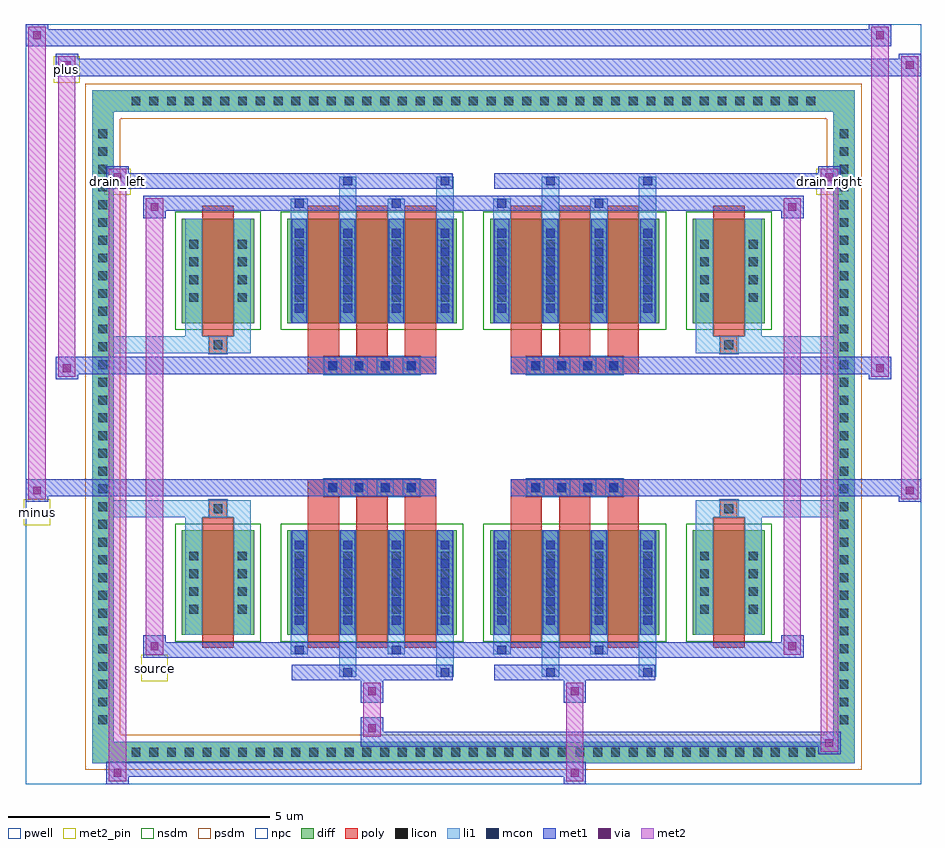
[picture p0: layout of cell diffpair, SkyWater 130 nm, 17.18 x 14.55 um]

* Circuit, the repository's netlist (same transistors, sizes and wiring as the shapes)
* NGSPICE file created from diffpair.ext - technology: sky130A

.subckt diffpair minus drain_right drain_left source plus
X0 a_n1460_n1288# a_n1460_n1288# a_n1460_n1288# a_n1460_n1288# sky130_fd_pr__nfet_01v8 ad=0.78 pd=4.78 as=6.24 ps=38.24 w=2 l=0.6
X1 a_n1460_n1288# a_n1460_n1288# a_n1460_n1288# a_n1460_n1288# sky130_fd_pr__nfet_01v8 ad=0.78 pd=4.78 as=0 ps=0 w=2 l=0.6
X2 drain_right minus source a_n1460_n1288# sky130_fd_pr__nfet_01v8 ad=0.78 pd=4.78 as=0.33 ps=2.33 w=2 l=0.6
X3 drain_left plus source a_n1460_n1288# sky130_fd_pr__nfet_01v8 ad=0.78 pd=4.78 as=0.33 ps=2.33 w=2 l=0.6
X4 a_n1460_n1288# a_n1460_n1288# a_n1460_n1288# a_n1460_n1288# sky130_fd_pr__nfet_01v8 ad=0.78 pd=4.78 as=0 ps=0 w=2 l=0.6
X5 source plus drain_left a_n1460_n1288# sky130_fd_pr__nfet_01v8 ad=0.33 pd=2.33 as=0.33 ps=2.33 w=2 l=0.6
X6 drain_right minus source a_n1460_n1288# sky130_fd_pr__nfet_01v8 ad=0.78 pd=4.78 as=0.33 ps=2.33 w=2 l=0.6
X7 source minus drain_right a_n1460_n1288# sky130_fd_pr__nfet_01v8 ad=0.33 pd=2.33 as=0.33 ps=2.33 w=2 l=0.6
X8 drain_left plus source a_n1460_n1288# sky130_fd_pr__nfet_01v8 ad=0.33 pd=2.33 as=0.78 ps=4.78 w=2 l=0.6
X9 drain_right minus source a_n1460_n1288# sky130_fd_pr__nfet_01v8 ad=0.33 pd=2.33 as=0.78 ps=4.78 w=2 l=0.6
X10 drain_right minus source a_n1460_n1288# sky130_fd_pr__nfet_01v8 ad=0.33 pd=2.33 as=0.78 ps=4.78 w=2 l=0.6
X11 source plus drain_left a_n1460_n1288# sky130_fd_pr__nfet_01v8 ad=0.33 pd=2.33 as=0.33 ps=2.33 w=2 l=0.6
X12 drain_left plus source a_n1460_n1288# sky130_fd_pr__nfet_01v8 ad=0.78 pd=4.78 as=0.33 ps=2.33 w=2 l=0.6
X13 a_n1460_n1288# a_n1460_n1288# a_n1460_n1288# a_n1460_n1288# sky130_fd_pr__nfet_01v8 ad=0.78 pd=4.78 as=0 ps=0 w=2 l=0.6
X14 source minus drain_right a_n1460_n1288# sky130_fd_pr__nfet_01v8 ad=0.33 pd=2.33 as=0.33 ps=2.33 w=2 l=0.6
X15 drain_left plus source a_n1460_n1288# sky130_fd_pr__nfet_01v8 ad=0.33 pd=2.33 as=0.78 ps=4.78 w=2 l=0.6
.ends

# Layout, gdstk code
import gdstk
lib = gdstk.Library(unit=1e-6, precision=5e-09)
def R(c, l, rs):  # rectangles x0, y0, x1, y1
    for r in rs: c.add(gdstk.rectangle(r[:2], r[2:], *l))
def A(c, l, x, y, w, h, nx, ny, dx, dy):  # array of equal rectangles
    R(c, l, [(x+i*dx, y+j*dy, x+i*dx+w, y+j*dy+h) for i in range(nx) for j in range(ny)])
def P(c, l, *ps):  # polygons
    for p in ps: c.add(gdstk.Polygon(p, *l))
pwell = (64, 44)
diff = (65, 20)
poly = (66, 20)
licon = (66, 44)
li1 = (67, 20)
mcon = (67, 44)
met1 = (68, 20)
via = (68, 44)
met2_pin = (69, 16)
met2 = (69, 20)
nsdm = (93, 44)
psdm = (94, 20)
npc = (95, 20)

diffpair = lib.new_cell('diffpair')
R(diffpair, pwell, [(-8.57,-6.84,8.57,7.71), (-5.89,-5.03,-0.01,-0.805), (0.01,-5.03,5.89,-0.805), (-5.89,0.805,-0.01,5.03), (0.01,0.805,5.89,5.03)])
A(diffpair, diff, -6.665, -6.44, 0.41, 0.41, 39, 2, 0.34, 12.47)
A(diffpair, diff, -7.3, -5.815, 0.41, 0.41, 1, 34, 0, 0.34)
A(diffpair, diff, 6.89, -5.815, 0.41, 0.41, 1, 34, 0, 0.34)
R(diffpair, diff, [(-6.665,-6.44,6.665,-6.03), (-7.3,-5.815,-6.89,5.815), (6.89,-5.815,7.3,5.815), (-5.58,-3.985,-4.2,-1.985), (-3.56,-3.985,-0.32,-1.985), (0.32,-3.985,3.56,-1.985), (4.2,-3.985,5.58,-1.985), (-5.58,1.985,-4.2,3.985), (-3.56,1.985,-0.32,3.985), (0.32,1.985,3.56,3.985), (4.2,1.985,5.58,3.985), (-6.665,6.03,6.665,6.44)])
P(diffpair, diff, [(7.3,6.44),(-7.3,6.44),(-7.3,-6.03),(-6.89,-6.03),(-6.89,6.03),(6.89,6.03),(6.89,-6.03),(-6.89,-6.03),(-7.3,-6.03),(-7.3,-6.44),(7.3,-6.44)])
A(diffpair, poly, -3.17, -4.235, 0.6, 2.5, 3, 2, 0.93, 5.97)
A(diffpair, poly, 0.71, -4.235, 0.6, 2.5, 3, 2, 0.93, 5.97)
A(diffpair, poly, -3.17, -1.735, 0.6, 0.4, 3, 2, 0.93, 3.07)
A(diffpair, poly, 0.71, -1.735, 0.6, 0.4, 3, 2, 0.93, 3.07)
A(diffpair, poly, -2.855, -1.335, 0.33, 0.33, 4, 2, 0.5, 2.34)
A(diffpair, poly, 1.025, -1.335, 0.33, 0.33, 4, 2, 0.5, 2.34)
R(diffpair, poly, [(-5.19,-4.235,-4.59,-1.735), (4.59,-4.235,5.19,-1.735), (-5.055,-1.735,-4.725,-1.405), (-5.055,-1.735,-4.725,-1.405), (4.725,-1.735,5.055,-1.405), (4.725,-1.735,5.055,-1.405), (-3.17,-1.335,-0.71,-1.005), (0.71,-1.335,3.17,-1.005), (-3.17,1.005,-0.71,1.335), (0.71,1.005,3.17,1.335), (-5.055,1.405,-4.725,1.735), (-5.055,1.405,-4.725,1.735), (4.725,1.405,5.055,1.735), (4.725,1.405,5.055,1.735), (-5.19,1.735,-4.59,4.235), (4.59,1.735,5.19,4.235)])
A(diffpair, licon, -6.545, -6.32, 0.17, 0.17, 39, 2, 0.34, 12.47)
A(diffpair, licon, -7.18, -5.695, 0.17, 0.17, 1, 34, 0, 0.34)
A(diffpair, licon, 7.01, -5.695, 0.17, 0.17, 1, 34, 0, 0.34)
A(diffpair, licon, -5.44, -3.58, 0.17, 0.17, 1, 4, 0, 0.34)
A(diffpair, licon, -4.51, -3.58, 0.17, 0.17, 1, 4, 0, 0.34)
A(diffpair, licon, -3.42, -3.58, 0.17, 0.17, 4, 4, 0.93, 0.34)
A(diffpair, licon, 0.46, -3.58, 0.17, 0.17, 4, 4, 0.93, 0.34)
A(diffpair, licon, 4.34, -3.58, 0.17, 0.17, 1, 4, 0, 0.34)
A(diffpair, licon, 5.27, -3.58, 0.17, 0.17, 1, 4, 0, 0.34)
A(diffpair, licon, -2.775, -1.255, 0.17, 0.17, 4, 2, 0.5, 2.34)
A(diffpair, licon, 1.105, -1.255, 0.17, 0.17, 4, 2, 0.5, 2.34)
A(diffpair, licon, -5.44, 2.39, 0.17, 0.17, 1, 4, 0, 0.34)
A(diffpair, licon, -4.51, 2.39, 0.17, 0.17, 1, 4, 0, 0.34)
A(diffpair, licon, -3.42, 2.39, 0.17, 0.17, 4, 4, 0.93, 0.34)
A(diffpair, licon, 0.46, 2.39, 0.17, 0.17, 4, 4, 0.93, 0.34)
A(diffpair, licon, 4.34, 2.39, 0.17, 0.17, 1, 4, 0, 0.34)
A(diffpair, licon, 5.27, 2.39, 0.17, 0.17, 1, 4, 0, 0.34)
R(diffpair, licon, [(-4.975,-1.655,-4.805,-1.485), (4.805,-1.655,4.975,-1.485), (-4.975,1.485,-4.805,1.655), (4.805,1.485,4.975,1.655)])
A(diffpair, li1, -6.625, -6.4, 0.33, 0.33, 39, 2, 0.34, 12.47)
A(diffpair, li1, -7.26, -5.775, 0.33, 0.33, 1, 34, 0, 0.34)
A(diffpair, li1, 6.93, -5.775, 0.33, 0.33, 1, 34, 0, 0.34)
A(diffpair, li1, -3.5, -3.985, 0.33, 2, 4, 2, 0.93, 5.97)
A(diffpair, li1, 0.38, -3.985, 0.33, 2, 4, 2, 0.93, 5.97)
A(diffpair, li1, -3.42, -3.79, 0.17, 0.17, 4, 5, 0.93, 0.36)
A(diffpair, li1, -3.42, -3.79, 0.17, 1.61, 4, 2, 0.93, 5.97)
A(diffpair, li1, 0.46, -3.79, 0.17, 0.17, 4, 5, 0.93, 0.36)
A(diffpair, li1, 0.46, -3.79, 0.17, 1.61, 4, 2, 0.93, 5.97)
A(diffpair, li1, -5.52, -3.66, 0.33, 0.33, 1, 4, 0, 0.34)
A(diffpair, li1, -4.59, -3.66, 0.33, 0.33, 1, 4, 0, 0.34)
A(diffpair, li1, -3.5, -3.66, 0.33, 0.33, 4, 4, 0.93, 0.34)
A(diffpair, li1, 0.38, -3.66, 0.33, 0.33, 4, 4, 0.93, 0.34)
A(diffpair, li1, 4.26, -3.66, 0.33, 0.33, 1, 4, 0, 0.34)
A(diffpair, li1, 5.19, -3.66, 0.33, 0.33, 1, 4, 0, 0.34)
A(diffpair, li1, -2.855, -1.335, 0.33, 0.33, 4, 2, 0.5, 2.34)
A(diffpair, li1, 1.025, -1.335, 0.33, 0.33, 4, 2, 0.5, 2.34)
A(diffpair, li1, -3.42, 2.18, 0.17, 0.17, 4, 5, 0.93, 0.36)
A(diffpair, li1, 0.46, 2.18, 0.17, 0.17, 4, 5, 0.93, 0.36)
A(diffpair, li1, -5.52, 2.31, 0.33, 0.33, 1, 4, 0, 0.34)
A(diffpair, li1, -4.59, 2.31, 0.33, 0.33, 1, 4, 0, 0.34)
A(diffpair, li1, -3.5, 2.31, 0.33, 0.33, 4, 4, 0.93, 0.34)
A(diffpair, li1, 0.38, 2.31, 0.33, 0.33, 4, 4, 0.93, 0.34)
A(diffpair, li1, 4.26, 2.31, 0.33, 0.33, 1, 4, 0, 0.34)
A(diffpair, li1, 5.19, 2.31, 0.33, 0.33, 1, 4, 0, 0.34)
R(diffpair, li1, [(-7.3,-6.44,-6.89,-6.03), (-7.3,-6.44,-6.89,-6.03), (-6.89,-6.44,6.89,-6.03), (6.89,-6.44,7.3,-6.03), (6.89,-6.44,7.3,-6.03), (-7.3,-6.03,-6.89,6.03), (6.89,-6.03,7.3,6.03), (-2.57,-4.79,-2.24,-3.985), (-2.49,-4.79,-2.32,-4.62), (-0.71,-4.79,-0.38,-3.985), (-0.63,-4.79,-0.46,-4.62), (1.31,-4.79,1.64,-3.985), (1.39,-4.79,1.56,-4.62), (3.17,-4.79,3.5,-3.985), (3.25,-4.79,3.42,-4.62), (-3.5,-4.36,-3.17,-3.985), (-3.42,-4.36,-3.25,-4.19), (-1.64,-4.36,-1.31,-3.985), (-1.56,-4.36,-1.39,-4.19), (0.38,-4.36,0.71,-3.985), (0.46,-4.36,0.63,-4.19), (2.24,-4.36,2.57,-3.985), (2.32,-4.36,2.49,-4.19), (-5.52,-3.985,-5.19,-1.985), (-4.59,-3.985,-4.26,-1.985), (4.26,-3.985,4.59,-1.985), (5.19,-3.985,5.52,-1.985), (-5.52,-1.985,-5.19,-1.405), (-4.59,-1.985,-4.26,-1.405), (4.26,-1.985,4.59,-1.405), (5.19,-1.985,5.52,-1.405), (-7.3,-1.735,-5.055,-1.405), (-5.52,-1.735,-5.055,-1.405), (-5.055,-1.735,-4.725,-1.405), (-4.725,-1.735,-4.26,-1.405), (4.26,-1.735,4.725,-1.405), (4.725,-1.735,5.055,-1.405), (4.725,-1.735,7.3,-1.405), (5.055,-1.735,5.52,-1.405), (-7.3,1.405,-5.055,1.735), (-5.52,1.405,-5.055,1.735), (-5.52,1.405,-5.19,1.985), (-5.055,1.405,-4.725,1.735), (-4.725,1.405,-4.26,1.735), (-4.59,1.405,-4.26,1.985), (4.26,1.405,4.725,1.735), (4.26,1.405,4.59,1.985), (4.725,1.405,5.055,1.735), (4.725,1.405,7.3,1.735), (5.055,1.405,5.52,1.735), (5.19,1.405,5.52,1.985), (-5.52,1.985,-5.19,3.985), (-4.59,1.985,-4.26,3.985), (4.26,1.985,4.59,3.985), (5.19,1.985,5.52,3.985), (-3.5,3.985,-3.17,4.36), (-2.57,3.985,-2.24,4.79), (-1.64,3.985,-1.31,4.36), (-0.71,3.985,-0.38,4.79), (0.38,3.985,0.71,4.36), (1.31,3.985,1.64,4.79), (2.24,3.985,2.57,4.36), (3.17,3.985,3.5,4.79), (-3.42,4.19,-3.25,4.36), (-1.56,4.19,-1.39,4.36), (0.46,4.19,0.63,4.36), (2.32,4.19,2.49,4.36), (-2.49,4.62,-2.32,4.79), (-0.63,4.62,-0.46,4.79), (1.39,4.62,1.56,4.79), (3.25,4.62,3.42,4.79), (-7.3,6.03,-6.89,6.44), (-7.3,6.03,-6.89,6.44), (-6.89,6.03,6.89,6.44), (6.89,6.03,7.3,6.44), (6.89,6.03,7.3,6.44)])
A(diffpair, mcon, -3.42, -3.79, 0.17, 0.17, 4, 5, 0.93, 0.36)
A(diffpair, mcon, 0.46, -3.79, 0.17, 0.17, 4, 5, 0.93, 0.36)
A(diffpair, mcon, -2.775, -1.255, 0.17, 0.17, 4, 2, 0.5, 2.34)
A(diffpair, mcon, 1.105, -1.255, 0.17, 0.17, 4, 2, 0.5, 2.34)
A(diffpair, mcon, -3.42, 2.18, 0.17, 0.17, 4, 5, 0.93, 0.36)
A(diffpair, mcon, 0.46, 2.18, 0.17, 0.17, 4, 5, 0.93, 0.36)
R(diffpair, mcon, [(-2.49,-4.79,-2.32,-4.62), (-0.63,-4.79,-0.46,-4.62), (1.39,-4.79,1.56,-4.62), (3.25,-4.79,3.42,-4.62), (-3.42,-4.36,-3.25,-4.19), (-1.56,-4.36,-1.39,-4.19), (0.46,-4.36,0.63,-4.19), (2.32,-4.36,2.49,-4.19), (-3.42,4.19,-3.25,4.36), (-1.56,4.19,-1.39,4.36), (0.46,4.19,0.63,4.36), (2.32,4.19,2.49,4.36), (-2.49,4.62,-2.32,4.79), (-0.63,4.62,-0.46,4.79), (1.39,4.62,1.56,4.79), (3.25,4.62,3.42,4.79)])
A(diffpair, met1, -3.48, -3.985, 0.29, 2, 4, 2, 0.93, 5.97)
A(diffpair, met1, 0.4, -3.985, 0.29, 2, 4, 2, 0.93, 5.97)
A(diffpair, met1, -3.48, -3.85, 0.29, 0.29, 4, 5, 0.93, 0.36)
A(diffpair, met1, 0.4, -3.85, 0.29, 0.29, 4, 5, 0.93, 0.36)
A(diffpair, met1, -2.835, -1.315, 0.29, 0.29, 4, 2, 0.5, 2.34)
A(diffpair, met1, 1.045, -1.315, 0.29, 0.29, 4, 2, 0.5, 2.34)
A(diffpair, met1, -3.48, 2.12, 0.29, 0.29, 4, 5, 0.93, 0.36)
A(diffpair, met1, 0.4, 2.12, 0.29, 0.29, 4, 5, 0.93, 0.36)
R(diffpair, met1, [(-7.03,-6.84,-6.6,-6.41), (1.725,-6.84,2.155,-6.41), (-7.03,-6.7,2.155,-6.41), (6.6,-6.27,7.03,-5.84), (-2.155,-6.13,7.03,-5.84), (-2.155,-5.99,-1.725,-5.56), (-2.155,-5.28,-1.725,-4.85), (1.725,-5.28,2.155,-4.85), (-3.48,-4.85,-0.4,-4.56), (-2.55,-4.85,-2.26,-4.56), (-0.69,-4.85,-0.4,-4.56), (0.4,-4.85,3.48,-4.56), (1.33,-4.85,1.62,-4.56), (3.19,-4.85,3.48,-4.56), (-6.32,-4.42,-5.89,-3.99), (-6.32,-4.42,-3.48,-4.13), (-3.48,-4.42,-3.19,-4.13), (-3.48,-4.42,-0.4,-4.13), (-1.62,-4.42,-1.33,-4.13), (-0.4,-4.42,0.4,-4.13), (0.4,-4.42,0.69,-4.13), (0.4,-4.42,3.48,-4.13), (2.26,-4.42,2.55,-4.13), (3.48,-4.42,6.32,-4.13), (5.89,-4.42,6.32,-3.99), (-8.57,-1.435,-8.14,-1.005), (8.14,-1.435,8.57,-1.005), (-8.57,-1.335,-0.71,-1.005), (-3.17,-1.335,-0.71,-1.005), (0.71,-1.335,3.17,-1.005), (0.71,-1.335,8.57,-1.005), (-8,0.905,-7.57,1.335), (7.57,0.905,8,1.335), (-8,1.005,-3.17,1.335), (-3.17,1.005,-0.71,1.335), (0.71,1.005,3.17,1.335), (3.17,1.005,8,1.335), (-6.32,3.99,-5.89,4.42), (5.89,3.99,6.32,4.42), (-6.32,4.13,-3.48,4.42), (-3.48,4.13,-3.19,4.42), (-3.48,4.13,-0.4,4.42), (-1.62,4.13,-1.33,4.42), (-0.4,4.13,0.4,4.42), (0.4,4.13,0.69,4.42), (0.4,4.13,3.48,4.42), (2.26,4.13,2.55,4.42), (3.48,4.13,6.32,4.42), (-7.03,4.56,-6.6,4.99), (-7.03,4.56,-3.48,4.85), (-3.48,4.56,-0.4,4.85), (-2.55,4.56,-2.26,4.85), (-0.69,4.56,-0.4,4.85), (0.4,4.56,3.48,4.85), (1.33,4.56,1.62,4.85), (3.19,4.56,3.48,4.85), (3.48,4.56,7.03,4.85), (6.6,4.56,7.03,4.99), (-8,6.71,-7.57,7.14), (-8,6.71,-5.89,7.04), (-5.89,6.71,5.89,7.04), (5.89,6.71,8.57,7.04), (8.14,6.71,8.57,7.14), (-8.57,7.28,-8.14,7.71), (-8.57,7.28,-5.89,7.61), (-5.89,7.28,5.89,7.61), (5.89,7.28,8,7.61), (7.57,7.28,8,7.71)])
R(diffpair, via, [(-6.89,-6.7,-6.74,-6.55), (1.865,-6.7,2.015,-6.55), (6.74,-6.13,6.89,-5.98), (-2.015,-5.85,-1.865,-5.7), (-2.015,-5.14,-1.865,-4.99), (1.865,-5.14,2.015,-4.99), (-6.18,-4.28,-6.03,-4.13), (6.03,-4.28,6.18,-4.13), (-8.43,-1.295,-8.28,-1.145), (8.28,-1.295,8.43,-1.145), (-7.86,1.045,-7.71,1.195), (7.71,1.045,7.86,1.195), (-6.18,4.13,-6.03,4.28), (6.03,4.13,6.18,4.28), (-6.89,4.7,-6.74,4.85), (6.74,4.7,6.89,4.85), (-7.86,6.85,-7.71,7), (8.28,6.85,8.43,7), (-8.43,7.42,-8.28,7.57), (7.71,7.42,7.86,7.57)])
R(diffpair, met2_pin, [(-6.355,-4.87,-5.855,-4.37), (-8.605,-1.885,-8.105,-1.385), (-7.065,4.44,-6.565,4.94), (6.565,4.44,7.065,4.94), (-8.035,6.59,-7.535,7.09)])
R(diffpair, met2, [(-6.98,-6.79,-6.65,-6.46), (-6.98,-6.79,-6.65,4.94), (1.775,-6.79,2.105,-6.46), (1.775,-6.46,2.105,-5.23), (6.65,-6.22,6.98,-5.89), (6.65,-6.22,6.98,4.94), (-2.105,-5.94,-1.775,-5.61), (-2.105,-5.61,-1.775,-5.23), (-2.105,-5.23,-1.775,-4.9), (1.775,-5.23,2.105,-4.9), (-6.27,-4.37,-5.94,-4.04), (-6.27,-4.37,-5.94,4.37), (5.94,-4.37,6.27,-4.04), (5.94,-4.37,6.27,4.37), (-8.52,-1.385,-8.19,-1.055), (-8.52,-1.385,-8.19,7.66), (8.19,-1.385,8.52,-1.055), (8.19,-1.385,8.52,7.09), (-7.95,0.955,-7.62,1.285), (-7.95,0.955,-7.62,7.09), (7.62,0.955,7.95,1.285), (7.62,0.955,7.95,7.66), (-6.27,4.04,-5.94,4.37), (5.94,4.04,6.27,4.37), (-6.98,4.61,-6.65,4.94), (6.65,4.61,6.98,4.94), (-7.95,6.76,-7.62,7.09), (8.19,6.76,8.52,7.09), (-8.52,7.33,-8.19,7.66), (7.62,7.33,7.95,7.66)])
P(diffpair, met2, [(8.52,-1.385),(8.52,-1.385),(8.52,-1.055),(8.52,-1.055)],
  [(8.52,6.76),(8.52,6.76),(8.52,7.09),(8.52,7.09)],
  [(-8.19,-1.385),(-8.19,-1.385),(-8.19,-1.055),(-8.19,-1.055)],
  [(-8.19,7.33),(-8.19,7.33),(-8.19,7.66),(-8.19,7.66)],
  [(7.95,0.955),(7.95,0.955),(7.95,1.285),(7.95,1.285)],
  [(7.95,7.33),(7.95,7.33),(7.95,7.66),(7.95,7.66)],
  [(-7.62,0.955),(-7.62,0.955),(-7.62,1.285),(-7.62,1.285)],
  [(-7.62,6.76),(-7.62,6.76),(-7.62,7.09),(-7.62,7.09)],
  [(-6.65,-6.79),(-6.65,-6.79),(-6.65,-6.46),(-6.65,-6.46)],
  [(-6.65,4.61),(-6.65,4.61),(-6.65,4.94),(-6.65,4.94)],
  [(6.98,-6.22),(6.98,-6.22),(6.98,-5.89),(6.98,-5.89)],
  [(6.98,4.61),(6.98,4.61),(6.98,4.94),(6.98,4.94)],
  [(-5.94,-4.37),(-5.94,-4.37),(-5.94,-4.04),(-5.94,-4.04)],
  [(-5.94,4.04),(-5.94,4.04),(-5.94,4.37),(-5.94,4.37)],
  [(6.27,-4.37),(6.27,-4.37),(6.27,-4.04),(6.27,-4.04)],
  [(6.27,4.04),(6.27,4.04),(6.27,4.37),(6.27,4.37)])
R(diffpair, nsdm, [(-5.71,-4.115,-4.07,-1.855), (-3.69,-4.115,-0.19,-1.855), (0.19,-4.115,3.69,-1.855), (4.07,-4.115,5.71,-1.855), (-5.71,1.855,-4.07,4.115), (-3.69,1.855,-0.19,4.115), (0.19,1.855,3.69,4.115), (4.07,1.855,5.71,4.115)])
P(diffpair, psdm, [(7.43,6.57),(-7.43,6.57),(-7.43,-5.9),(-6.76,-5.9),(-6.76,5.9),(6.76,5.9),(6.76,-5.9),(-6.76,-5.9),(-7.43,-5.9),(-7.43,-6.57),(7.43,-6.57)])
A(diffpair, npc, -2.875, -1.355, 0.37, 0.37, 4, 2, 0.5, 2.34)
A(diffpair, npc, 1.005, -1.355, 0.37, 0.37, 4, 2, 0.5, 2.34)
R(diffpair, npc, [(-5.075,-1.755,-4.705,-1.385), (4.705,-1.755,5.075,-1.385), (-2.875,-1.355,-2.005,-0.985), (-2.875,-1.355,-2.005,-0.985), (-2.375,-1.355,-1.505,-0.985), (-2.375,-1.355,-1.505,-0.985), (-1.875,-1.355,-1.005,-0.985), (-1.875,-1.355,-1.005,-0.985), (1.005,-1.355,1.875,-0.985), (1.005,-1.355,1.875,-0.985), (1.505,-1.355,2.375,-0.985), (1.505,-1.355,2.375,-0.985), (2.005,-1.355,2.875,-0.985), (2.005,-1.355,2.875,-0.985), (-2.875,0.985,-2.005,1.355), (-2.875,0.985,-2.005,1.355), (-2.375,0.985,-1.505,1.355), (-2.375,0.985,-1.505,1.355), (-1.875,0.985,-1.005,1.355), (-1.875,0.985,-1.005,1.355), (1.005,0.985,1.875,1.355), (1.005,0.985,1.875,1.355), (1.505,0.985,2.375,1.355), (1.505,0.985,2.375,1.355), (2.005,0.985,2.875,1.355), (2.005,0.985,2.875,1.355), (-5.075,1.385,-4.705,1.755), (4.705,1.385,5.075,1.755)])
diffpair.add(gdstk.Label('minus', (-8.355,-1.635), layer=69, texttype=5))
diffpair.add(gdstk.Label('drain_right', (6.815,4.69), layer=69, texttype=5))
diffpair.add(gdstk.Label('drain_left', (-6.815,4.69), layer=69, texttype=5))
diffpair.add(gdstk.Label('source', (-6.105,-4.62), layer=69, texttype=5))
diffpair.add(gdstk.Label('plus', (-7.785,6.84), layer=69, texttype=5))

lib.write_gds('diffpair.gds')
